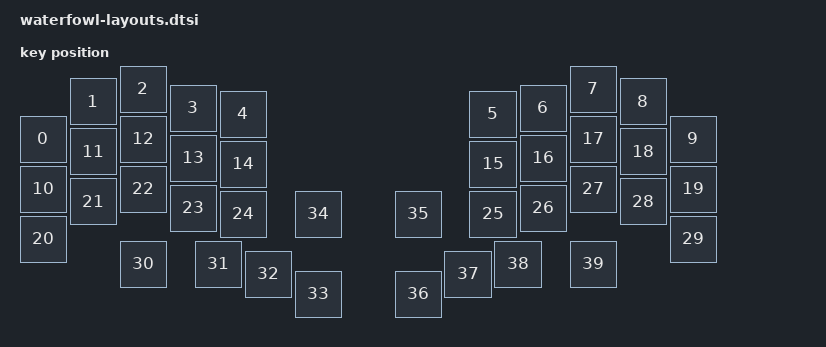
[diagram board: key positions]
#include <physical_layouts.dtsi>

/ {
    physical_layout0: physical_layout_0 {
        compatible = "zmk,physical-layout";
        display-name = "LAYOUT";

        kscan = <&kscan0>;
        transform = <&default_transform>;

        keys  //                     w   h    x    y     rot    rx    ry
            = <&key_physical_attrs 100 100    0  100       0     0     0>
            , <&key_physical_attrs 100 100  100   25       0     0     0>
            , <&key_physical_attrs 100 100  200    0       0     0     0>
            , <&key_physical_attrs 100 100  300   38       0     0     0>
            , <&key_physical_attrs 100 100  400   50       0     0     0>
            , <&key_physical_attrs 100 100  900   50       0     0     0>
            , <&key_physical_attrs 100 100 1000   38       0     0     0>
            , <&key_physical_attrs 100 100 1100    0       0     0     0>
            , <&key_physical_attrs 100 100 1200   25       0     0     0>
            , <&key_physical_attrs 100 100 1300  100       0     0     0>
            , <&key_physical_attrs 100 100    0  200       0     0     0>
            , <&key_physical_attrs 100 100  100  125       0     0     0>
            , <&key_physical_attrs 100 100  200  100       0     0     0>
            , <&key_physical_attrs 100 100  300  138       0     0     0>
            , <&key_physical_attrs 100 100  400  150       0     0     0>
            , <&key_physical_attrs 100 100  900  150       0     0     0>
            , <&key_physical_attrs 100 100 1000  138       0     0     0>
            , <&key_physical_attrs 100 100 1100  100       0     0     0>
            , <&key_physical_attrs 100 100 1200  125       0     0     0>
            , <&key_physical_attrs 100 100 1300  200       0     0     0>
            , <&key_physical_attrs 100 100    0  300       0     0     0>
            , <&key_physical_attrs 100 100  100  225       0     0     0>
            , <&key_physical_attrs 100 100  200  200       0     0     0>
            , <&key_physical_attrs 100 100  300  238       0     0     0>
            , <&key_physical_attrs 100 100  400  250       0     0     0>
            , <&key_physical_attrs 100 100  900  250       0     0     0>
            , <&key_physical_attrs 100 100 1000  238       0     0     0>
            , <&key_physical_attrs 100 100 1100  200       0     0     0>
            , <&key_physical_attrs 100 100 1200  225       0     0     0>
            , <&key_physical_attrs 100 100 1300  300       0     0     0>
            , <&key_physical_attrs 100 100  200  350       0     0     0>
            , <&key_physical_attrs 100 100  350  350       0     0     0>
            , <&key_physical_attrs 100 100  450  370       0     0     0>
            , <&key_physical_attrs 100 100  550  410       0     0     0>
            , <&key_physical_attrs 100 100  550  250       0     0     0>
            , <&key_physical_attrs 100 100  750  250       0     0     0>
            , <&key_physical_attrs 100 100  750  410       0     0     0>
            , <&key_physical_attrs 100 100  850  370       0     0     0>
            , <&key_physical_attrs 100 100  950  350       0     0     0>
            , <&key_physical_attrs 100 100 1100  350       0     0     0>
            ;
    };
};
